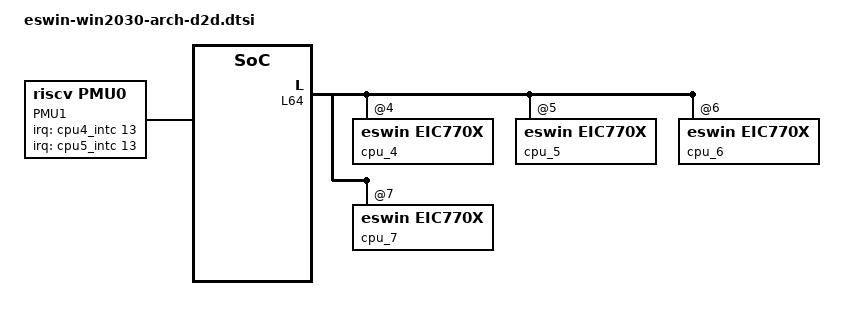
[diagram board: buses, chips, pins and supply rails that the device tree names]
// SPDX-License-Identifier: GPL-2.0
/*
 * Device Tree Include file for Eswin EIC7702 SoC's cpu.
 *
 * Copyright 2024, Beijing ESWIN Computing Technology Co., Ltd.. All rights reserved.
 * SPDX-License-Identifier: GPL-2.0
 *
 * This program is free software: you can redistribute it and/or modify
 * it under the terms of the GNU General Public License as published by
 * the Free Software Foundation, version 2.
 *
 * This program is distributed in the hope that it will be useful,
 * but WITHOUT ANY WARRANTY; without even the implied warranty of
 * MERCHANTABILITY or FITNESS FOR A PARTICULAR PURPOSE.  See the
 * GNU General Public License for more details.
 *
 * You should have received a copy of the GNU General Public License
 * along with this program.  If not, see <https://www.gnu.org/licenses/>.
 */

#define CHIPLET_AND_DIE (0x2)
#include "eswin-win2030-arch.dtsi"


&L64 {
	cpu-map {
	#if (CHIPLET_AND_DIE & 0x2)
		cluster0 {
			core0 {
				cpu = <&cpu_0>;
			};
			core1 {
				cpu = <&cpu_1>;
			};
			core2 {
				cpu = <&cpu_2>;
			};
			core3 {
				cpu = <&cpu_3>;
			};
		};
	#endif
		cluster1 {
			core0 {
				cpu = <&cpu_4>;
			};
		#ifndef PLATFORM_HAPS
			core1 {
				cpu = <&cpu_5>;
			};
			core2 {
				cpu = <&cpu_6>;
			};
			core3 {
				cpu = <&cpu_7>;
			};
		#endif
		};

	};

	cpu_4: cpu@4 {
		clock-frequency = <0>;
		compatible = "eswin,eic770x", "riscv";
		d-cache-block-size = <64>;
		d-cache-sets = <128>;
		d-cache-size = <32768>;
		d-tlb-sets = <1>;
		d-tlb-size = <32>;
		device_type = "cpu";
		hardware-exec-breakpoint-count = <4>;
		hwpf-distanceBits = <6>;
		hwpf-hitCacheThrdBits = <5>;
		hwpf-hitMSHRThrdBits = <4>;
		hwpf-l2pfPoolSize = <10>;
		hwpf-nIssQEnt = <6>;
		hwpf-nPrefetchQueueEntries = <8>;
		hwpf-nStreams = <16>;
		hwpf-qFullnessThrdBits = <4>;
		hwpf-windowBits = <6>;
		i-cache-block-size = <64>;
		i-cache-sets = <128>;
		i-cache-size = <32768>;
		i-tlb-sets = <1>;
		i-tlb-size = <32>;
		mmu-type = "riscv,sv48";
		next-level-cache = <&d1_l2_cache_0>;
	#if (CHIPLET_AND_DIE == 1)
	#ifdef PLATFORM_HAPS
		reg = <0x1>;
	#else
		reg = <0x4>;
	#endif
	#else
		reg = <0x4>;
	#endif
		riscv,isa = "rv64imafdch_zicsr_zifencei_zba_zbb_sscofpmf";
		riscv,pmpgranularity = <4096>;
		riscv,pmpregions = <8>;
		#if (CHIPLET_AND_DIE & 0x2)
		sifive,buserror = <&d1_bus_err0>;
		#endif
		status = "okay";
		timebase-frequency = <RTCCLK_FREQ>;
		tlb-split;
		numa-node-id = <1>;
		clocks = <&d1_clock WIN2030_CLK_CPU_EXT_SRC_CORE_CLK_0>;
		operating-points-v2 = <&d1_cpu_opp_table>;
		cpu-idle-states = <&CPU_RET>;
		cpu4_intc: interrupt-controller {
			#interrupt-cells = <1>;
			compatible = "riscv,cpu-intc";
			interrupt-controller;
		};

	};
#ifndef PLATFORM_HAPS
	cpu_5: cpu@5 {
		clock-frequency = <0>;
		compatible = "eswin,eic770x", "riscv";
		d-cache-block-size = <64>;
		d-cache-sets = <128>;
		d-cache-size = <32768>;
		d-tlb-sets = <1>;
		d-tlb-size = <32>;
		device_type = "cpu";
		hardware-exec-breakpoint-count = <4>;
		hwpf-distanceBits = <6>;
		hwpf-hitCacheThrdBits = <5>;
		hwpf-hitMSHRThrdBits = <4>;
		hwpf-l2pfPoolSize = <10>;
		hwpf-nIssQEnt = <6>;
		hwpf-nPrefetchQueueEntries = <8>;
		hwpf-nStreams = <16>;
		hwpf-qFullnessThrdBits = <4>;
		hwpf-windowBits = <6>;
		i-cache-block-size = <64>;
		i-cache-sets = <128>;
		i-cache-size = <32768>;
		i-tlb-sets = <1>;
		i-tlb-size = <32>;
		mmu-type = "riscv,sv48";
		next-level-cache = <&d1_l2_cache_1>;
		reg = <0x5>;
		riscv,isa = "rv64imafdch_zicsr_zifencei_zba_zbb_sscofpmf";
		riscv,pmpgranularity = <4096>;
		riscv,pmpregions = <8>;
		#if (CHIPLET_AND_DIE & 0x2)
		sifive,buserror = <&d1_bus_err1>;
		#endif
		status = "okay";
		timebase-frequency = <RTCCLK_FREQ>;
		tlb-split;
		numa-node-id = <1>;
		clocks = <&d1_clock WIN2030_CLK_CPU_EXT_SRC_CORE_CLK_1>;
		operating-points-v2 = <&d1_cpu_opp_table>;
		cpu-idle-states = <&CPU_RET>;
		cpu5_intc: interrupt-controller {
			#interrupt-cells = <1>;
			compatible = "riscv,cpu-intc";
			interrupt-controller;
		};

	};
	cpu_6: cpu@6 {
		clock-frequency = <0>;
		compatible = "eswin,eic770x", "riscv";
		d-cache-block-size = <64>;
		d-cache-sets = <128>;
		d-cache-size = <32768>;
		d-tlb-sets = <1>;
		d-tlb-size = <32>;
		device_type = "cpu";
		hardware-exec-breakpoint-count = <4>;
		hwpf-distanceBits = <6>;
		hwpf-hitCacheThrdBits = <5>;
		hwpf-hitMSHRThrdBits = <4>;
		hwpf-l2pfPoolSize = <10>;
		hwpf-nIssQEnt = <6>;
		hwpf-nPrefetchQueueEntries = <8>;
		hwpf-nStreams = <16>;
		hwpf-qFullnessThrdBits = <4>;
		hwpf-windowBits = <6>;
		i-cache-block-size = <64>;
		i-cache-sets = <128>;
		i-cache-size = <32768>;
		i-tlb-sets = <1>;
		i-tlb-size = <32>;
		mmu-type = "riscv,sv48";
		next-level-cache = <&d1_l2_cache_2>;
		reg = <0x6>;
		riscv,isa = "rv64imafdch_zicsr_zifencei_zba_zbb_sscofpmf";
		riscv,pmpgranularity = <4096>;
		riscv,pmpregions = <8>;
		#if (CHIPLET_AND_DIE & 0x2)
		sifive,buserror = <&d1_bus_err2>;
		#endif
		status = "okay";
		timebase-frequency = <RTCCLK_FREQ>;
		tlb-split;
		numa-node-id = <1>;
		clocks = <&d1_clock WIN2030_CLK_CPU_EXT_SRC_CORE_CLK_2>;
		operating-points-v2 = <&d1_cpu_opp_table>;
		cpu-idle-states = <&CPU_RET>;
		cpu6_intc: interrupt-controller {
			#interrupt-cells = <1>;
			compatible = "riscv,cpu-intc";
			interrupt-controller;
		};

	};
	cpu_7: cpu@7 {
		clock-frequency = <0>;
		compatible = "eswin,eic770x", "riscv";
		d-cache-block-size = <64>;
		d-cache-sets = <128>;
		d-cache-size = <32768>;
		d-tlb-sets = <1>;
		d-tlb-size = <32>;
		device_type = "cpu";
		hardware-exec-breakpoint-count = <4>;
		hwpf-distanceBits = <6>;
		hwpf-hitCacheThrdBits = <5>;
		hwpf-hitMSHRThrdBits = <4>;
		hwpf-l2pfPoolSize = <10>;
		hwpf-nIssQEnt = <6>;
		hwpf-nPrefetchQueueEntries = <8>;
		hwpf-nStreams = <16>;
		hwpf-qFullnessThrdBits = <4>;
		hwpf-windowBits = <6>;
		i-cache-block-size = <64>;
		i-cache-sets = <128>;
		i-cache-size = <32768>;
		i-tlb-sets = <1>;
		i-tlb-size = <32>;
		mmu-type = "riscv,sv48";
		next-level-cache = <&d1_l2_cache_3>;
		reg = <0x7>;
		riscv,isa = "rv64imafdch_zicsr_zifencei_zba_zbb_sscofpmf";
		riscv,pmpgranularity = <4096>;
		riscv,pmpregions = <8>;
		#if (CHIPLET_AND_DIE & 0x2)
		sifive,buserror = <&d1_bus_err3>;
		#endif
		status = "okay";
		timebase-frequency = <RTCCLK_FREQ>;
		tlb-split;
		numa-node-id = <1>;
		clocks = <&d1_clock WIN2030_CLK_CPU_EXT_SRC_CORE_CLK_3>;
		operating-points-v2 = <&d1_cpu_opp_table>;
		cpu-idle-states = <&CPU_RET>;
		cpu7_intc: interrupt-controller {
			#interrupt-cells = <1>;
			compatible = "riscv,cpu-intc";
			interrupt-controller;
		};

	};
#endif
};

&SOC {
	#address-cells = <2>;
	#size-cells = <2>;
	compatible = "SiFive,FU800-soc", "fu800-soc", "sifive-soc", "simple-bus";
	ranges;
	PMU1: pmu@1 {
		riscv,raw-event-to-mhpmcounters = <0x0 0x0  0xffffffff 0xff          0x1f8
											0x0 0x1  0xffffffff 0xfff800ff    0x1f8
											0x0 0x2  0xffffffff 0xffffc0ff    0x1f8>;
		riscv,event-to-mhpmcounters = <0x01 0x01 0x01 0x02 0x02 0x02 0x4 0x6 0x1f8 0x10009 0x10009 0x1f8 0x10019 0x10019 0x1f8 0x10021 0x10021 0x1f8>;
		riscv,event-to-mhpmevent = <0x4 0x0 0x202 0x5 0x0 0x4000 0x6 0x0 0x2001 0x10009 0x0 0x102 0x10019 0x0 0x1002 0x10021 0x0 0x802>;
		compatible = "riscv,pmu0", "riscv,pmu";
		interrupts-extended = <&cpu4_intc 13 &cpu5_intc 13 &cpu6_intc 13 &cpu7_intc 13>;
	};

	d1_bus_err0: bus-error-unit@21700000 {
		compatible = "sifive,buserror";
		interrupt-parent = <&plic1>;
		interrupts = <517>;
		reg = <0x0 0x21700000 0x0 0x1000>;
		reg-names = "control";
	};
	d1_bus_err1: bus-error-unit@21701000 {
		compatible = "sifive,buserror";
		interrupt-parent = <&plic1>;
		interrupts = <518>;
		reg = <0x0 0x21701000 0x0 0x1000>;
		reg-names = "control";
	};
	d1_bus_err2: bus-error-unit@21702000 {
		compatible = "sifive,buserror";
		interrupt-parent = <&plic1>;
		interrupts = <519>;
		reg = <0x0 0x21702000 0x0 0x1000>;
		reg-names = "control";
	};
	d1_bus_err3: bus-error-unit@21703000 {
		compatible = "sifive,buserror";
		interrupt-parent = <&plic1>;
		interrupts = <520>;
		reg = <0x0 0x21703000 0x0 0x1000>;
		reg-names = "control";
	};

	D1CACHE: cache-controller@22010000 {
		cache-block-size = <64>;
		cache-level = <3>;
		cache-sets = <4096>;
		cache-size = <4194304>;
		cache-unified;
		compatible = "sifive,ccache1", "cache", "sifive,fu740-c000-ccache";
		interrupt-parent = <&plic1>;
		interrupts = <1>, <3>, <4>, <2>;
		//next-level-cache = <&L9 &L10 &L11 &D2MEM>;
		next-level-cache = <&L9 &L10 &L11>;
		reg = <0x0 0x22010000 0x0 0x4000 0x0 0x8000000 0x0 0x400000>;
		reg-names = "control", "sideband";
		sifive,a-mshr-count = <60>;
		sifive,bank-count = <4>;
		sifive,ecc-granularity = <8>;
		sifive,max-master-id = <13>;
		sifive,perfmon-counters = <6>;
		numa-node-id = <1>;
	};


	plic1: interrupt-controller@2c000000 {
		#interrupt-cells = <1>;
		compatible = "sifive,plic-1.0.0";
		interrupt-controller;
		interrupts-extended = <
			&cpu4_intc 0xffffffff &cpu4_intc 9
		#ifndef PLATFORM_HAPS
			&cpu5_intc 0xffffffff &cpu5_intc 9
			&cpu6_intc 0xffffffff &cpu6_intc 9
			&cpu7_intc 0xffffffff &cpu7_intc 9
		#endif
			>;
		reg = <0x0 0x2c000000 0x0 0x4000000>;
		reg-names = "control";
		riscv,max-priority = <7>;
		riscv,ndev = <520>;
		numa-node-id = <1>;
	};

	d1_l2_cache_0: pl2@20104000 {
		cache-block-size = <64>;
		cache-level = <2>;
		cache-sets = <512>;
		cache-size = <262144>;
		cache-unified;
		compatible = "sifive,pL2Cache0", "cache";
		next-level-cache = <&D1CACHE>;
		reg = <0x0 0x20104000 0x0 0x4000>;
		reg-names = "control";
		sifive,ecc-granularity = <16>;
		sifive,perfmon-counters = <6>;
	};
	d1_l2_cache_1: pl2@20108000 {
		cache-block-size = <64>;
		cache-level = <2>;
		cache-sets = <512>;
		cache-size = <262144>;
		cache-unified;
		compatible = "sifive,pL2Cache0", "cache";
		next-level-cache = <&D1CACHE>;
		reg = <0x0 0x20108000 0x0 0x4000>;
		reg-names = "control";
		sifive,ecc-granularity = <16>;
		sifive,perfmon-counters = <6>;
	};
	d1_l2_cache_2: pl2@2010c000 {
		cache-block-size = <64>;
		cache-level = <2>;
		cache-sets = <512>;
		cache-size = <262144>;
		cache-unified;
		compatible = "sifive,pL2Cache0", "cache";
		next-level-cache = <&D1CACHE>;
		reg = <0x0 0x2010c000 0x0 0x4000>;
		reg-names = "control";
		sifive,ecc-granularity = <16>;
		sifive,perfmon-counters = <6>;
	};
	d1_l2_cache_3: pl2@20110000 {
		cache-block-size = <64>;
		cache-level = <2>;
		cache-sets = <512>;
		cache-size = <262144>;
		cache-unified;
		compatible = "sifive,pL2Cache0", "cache";
		next-level-cache = <&D1CACHE>;
		reg = <0x0 0x20110000 0x0 0x4000>;
		reg-names = "control";
		sifive,ecc-granularity = <16>;
		sifive,perfmon-counters = <6>;
	};
};

